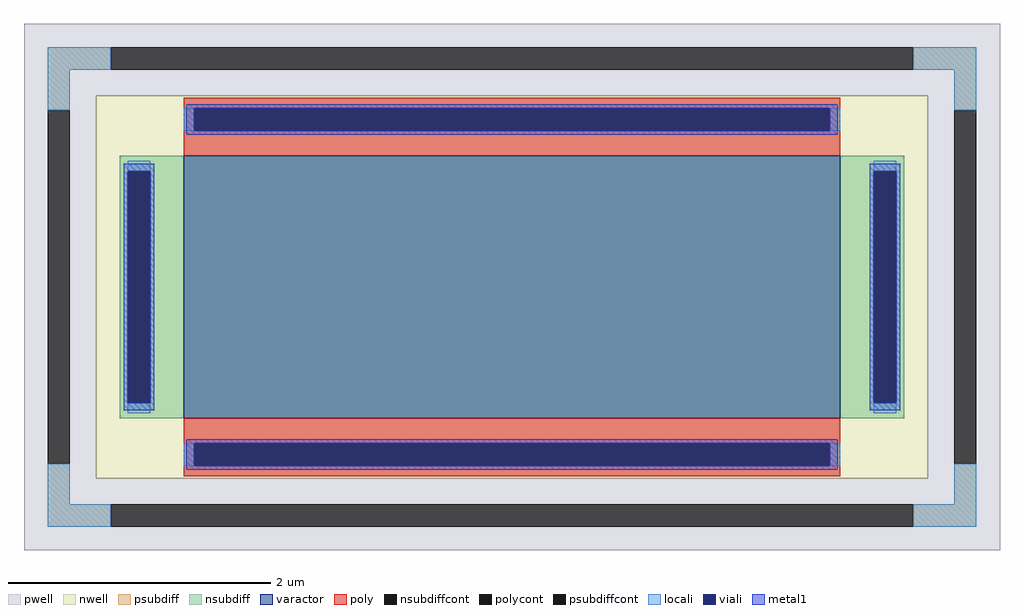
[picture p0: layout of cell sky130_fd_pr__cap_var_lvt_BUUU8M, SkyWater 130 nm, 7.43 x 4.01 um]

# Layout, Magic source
magic
tech sky130A
magscale 1 2
<< nwell >>
rect -633 -291 633 291
<< pwell >>
rect -743 291 743 401
rect -743 -291 -633 291
rect 633 -291 743 291
rect -743 -401 743 -291
<< varactor >>
rect -500 -200 500 200
<< psubdiff >>
rect -707 331 -611 365
rect 611 331 707 365
rect -707 269 -673 331
rect 673 269 707 331
rect -707 -331 -673 -269
rect 673 -331 707 -269
rect -707 -365 -611 -331
rect 611 -365 707 -331
<< nsubdiff >>
rect -597 176 -500 200
rect -597 -176 -585 176
rect -551 -176 -500 176
rect -597 -200 -500 -176
rect 500 176 597 200
rect 500 -176 551 176
rect 585 -176 597 176
rect 500 -200 597 -176
<< psubdiffcont >>
rect -611 331 611 365
rect -707 -269 -673 269
rect 673 -269 707 269
rect -611 -365 611 -331
<< nsubdiffcont >>
rect -585 -176 -551 176
rect 551 -176 585 176
<< poly >>
rect -500 272 500 288
rect -500 238 -484 272
rect 484 238 500 272
rect -500 200 500 238
rect -500 -238 500 -200
rect -500 -272 -484 -238
rect 484 -272 500 -238
rect -500 -288 500 -272
<< polycont >>
rect -484 238 484 272
rect -484 -272 484 -238
<< locali >>
rect -707 331 -611 365
rect 611 331 707 365
rect -707 269 -673 331
rect -500 238 -484 272
rect 484 238 500 272
rect 673 269 707 331
rect -585 176 -551 192
rect -585 -192 -551 -176
rect 551 176 585 192
rect 551 -192 585 -176
rect -707 -331 -673 -269
rect -500 -272 -484 -238
rect 484 -272 500 -238
rect 673 -331 707 -269
rect -707 -365 -611 -331
rect 611 -365 707 -331
<< viali >>
rect -484 238 484 272
rect -585 -176 -551 176
rect 551 -176 585 176
rect -484 -272 484 -238
<< metal1 >>
rect -496 272 496 278
rect -496 238 -484 272
rect 484 238 496 272
rect -496 232 496 238
rect -591 176 -545 188
rect -591 -176 -585 176
rect -551 -176 -545 176
rect -591 -188 -545 -176
rect 545 176 591 188
rect 545 -176 551 176
rect 585 -176 591 176
rect 545 -188 591 -176
rect -496 -238 496 -232
rect -496 -272 -484 -238
rect 484 -272 496 -238
rect -496 -278 496 -272
<< properties >>
string FIXED_BBOX -690 -348 690 348
string gencell sky130_fd_pr__cap_var_lvt
string library sky130
string parameters w 2 l 5 m 1 nf 1 diffcov 100 polycov 100 guard 1 glc 1 grc 1 gtc 1 gbc 1 tbcov 100 rlcov 100 topc 1 botc 1 poverlap 1 doverlap 1 lmin 0.18 wmin 1.0 compatible {sky130_fd_pr__cap_var_lvt  sky130_fd_pr__cap_var_hvt sky130_fd_pr__cap_var} full_metal 1 viasrc 100 viadrn 100 viagate 100 viagb 0 viagr 0 viagl 0 viagt 0
<< end >>
